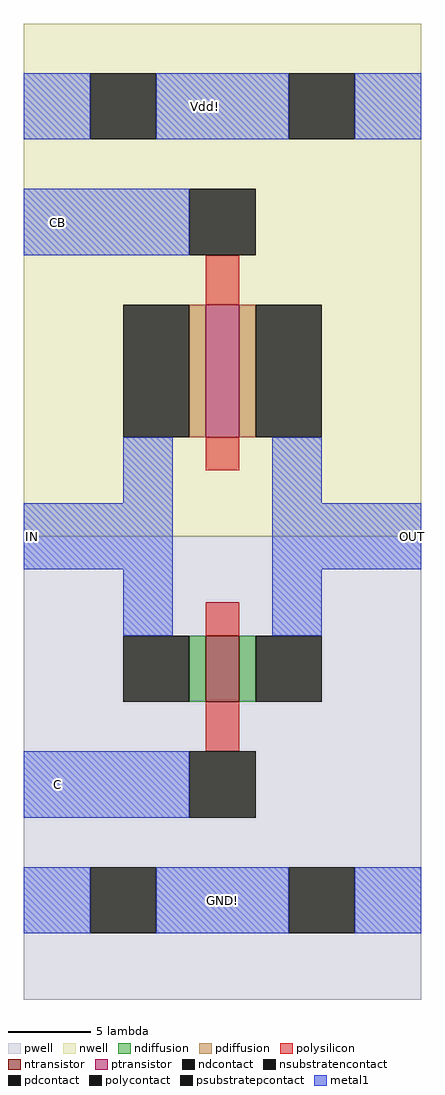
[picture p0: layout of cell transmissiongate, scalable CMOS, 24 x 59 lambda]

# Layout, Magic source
magic
tech scmos
<< pwell >>
rect 0 0 24 28
<< nwell >>
rect 0 28 24 59
<< polysilicon >>
rect 11 42 13 45
rect 11 32 13 34
rect 11 22 13 24
rect 11 15 13 18
<< ndiffusion >>
rect 10 18 11 22
rect 13 18 14 22
<< pdiffusion >>
rect 10 34 11 42
rect 13 34 14 42
<< metal1 >>
rect 0 52 4 56
rect 8 52 16 56
rect 20 52 24 56
rect 0 45 10 49
rect 6 30 9 34
rect 0 26 9 30
rect 6 22 9 26
rect 15 30 18 34
rect 15 26 24 30
rect 15 22 18 26
rect 0 11 10 15
rect 0 4 4 8
rect 8 4 16 8
rect 20 4 24 8
<< ntransistor >>
rect 11 18 13 22
<< ptransistor >>
rect 11 34 13 42
<< polycontact >>
rect 10 45 14 49
rect 10 11 14 15
<< ndcontact >>
rect 6 18 10 22
rect 14 18 18 22
<< pdcontact >>
rect 6 34 10 42
rect 14 34 18 42
<< psubstratepcontact >>
rect 4 4 8 8
rect 16 4 20 8
<< nsubstratencontact >>
rect 4 52 8 56
rect 16 52 20 56
<< labels >>
rlabel metal1 12 6 12 6 1 GND!
rlabel metal1 2 13 2 13 1 C
rlabel metal1 2 47 2 47 1 CB
rlabel metal1 11 54 11 54 1 Vdd!
rlabel metal1 0 26 1 30 3 IN
rlabel metal1 23 26 24 30 7 OUT
<< end >>
